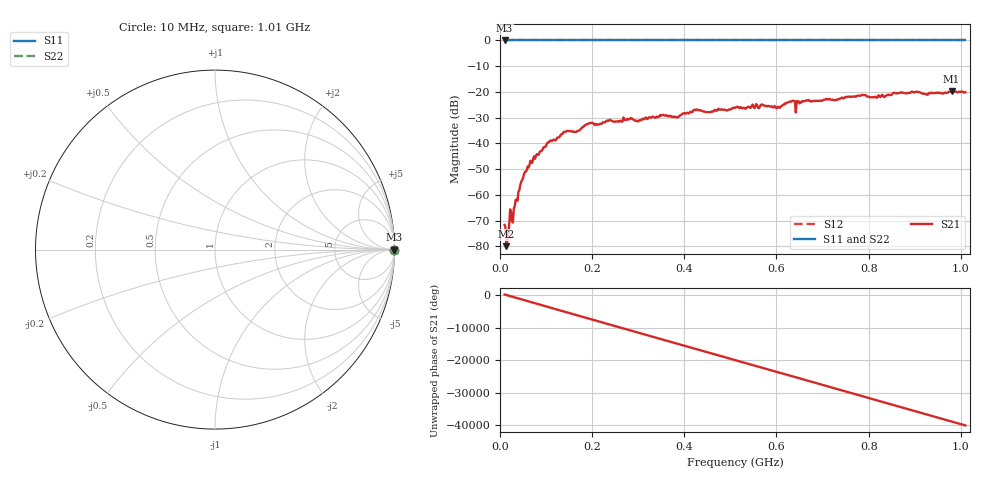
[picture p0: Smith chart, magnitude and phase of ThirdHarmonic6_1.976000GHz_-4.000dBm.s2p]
! 8/16/2025 11:45:48 PM
! C:\ANRITSUVNA\TEMP\TEMP.S2P
! CHANNEL.1
! TR.MEASUREMENT
! RAW.DATA
! RF.CORRECTION.OFF
! AVERAGING.OFF
! IF.BANDWIDTH: 5KHZ
! SWEEPTYPE:  FREQ.SWEEP(Linear)
! Reference Plane Port Info
! PORT:  PORT1  PORT2
! DISTANCE:  0  m  0  m
! TIME:  0  s  0  s
! PHASE.OFFSET:  0  deg.  0  deg.
! LOSS:  0  dB  0  dB
! REF.LOSS:  0  dB  0  dB
! REF.FREQ:  0  Hz  0  Hz
! Power Info
! POWER:  -20  dBm  -20  dBm
! EFF.POWER:  -20  dBm  -20  dBm
! SOURCE.ATTEN:  0  dB  0  dB
! TEST.ATTEN:  0  dB  0  dB
# GHZ S RI R 50.0
! FREQ.GHZ  S11RE  S11IM  S21RE  S21IM  S12RE  S12IM  S22RE  S22IM
!; PortSelection: Port_12
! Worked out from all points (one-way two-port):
!   501 points, 10 MHz to 1.01 GHz, reference 50 ohm
!   highest |S21| = -19.76 dB at 980 MHz (marker M1); lowest = -79.9 dB at 14 MHz (marker M2)
!   lowest |S11| = 0.0 dB at 10 MHz (marker M3)
!   |S11| at or under -10 dB: nowhere
!   |S22| runs from 0.0 to 0.0 dB; largest |S21 - S12| = 1.1
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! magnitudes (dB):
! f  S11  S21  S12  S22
! 10 MHz  0.0  -71.7  0.0  0.0
! 14 MHz  0.0  -79.9  0.0  0.0
! 16 MHz  0.0  -77.3  0.0  0.0
! 22 MHz  0.0  -65.6  0.0  0.0
! 30 MHz  0.0  -65.3  0.0  0.0
! 48 MHz  0.0  -54.3  0.0  0.0
! 70 MHz  0.0  -47.5  0.0  0.0
! 106 MHz  0.0  -39.6  0.0  0.0
! 142 MHz  0.0  -35.5  0.0  0.0
! 178 MHz  0.0  -33.9  0.0  0.0
! 196 MHz  0.0  -32.1  0.0  0.0
! 344 MHz  0.0  -29.7  0.0  0.0
! 384 MHz  0.0  -29.8  0.0  0.0
! 424 MHz  0.0  -27.0  0.0  0.0
! 452 MHz  0.0  -27.8  0.0  0.0
! 510 MHz  0.0  -26.2  0.0  0.0
! 604 MHz  0.0  -25.7  0.0  0.0
! 632 MHz  0.0  -23.8  0.0  0.0
! 678 MHz  0.0  -23.5  0.0  0.0
! 844 MHz  0.0  -21.1  0.0  0.0
! 980 MHz  0.0  -19.8  0.0  0.0
! 1.01 GHz  0.0  -20.1  0.0  0.0
